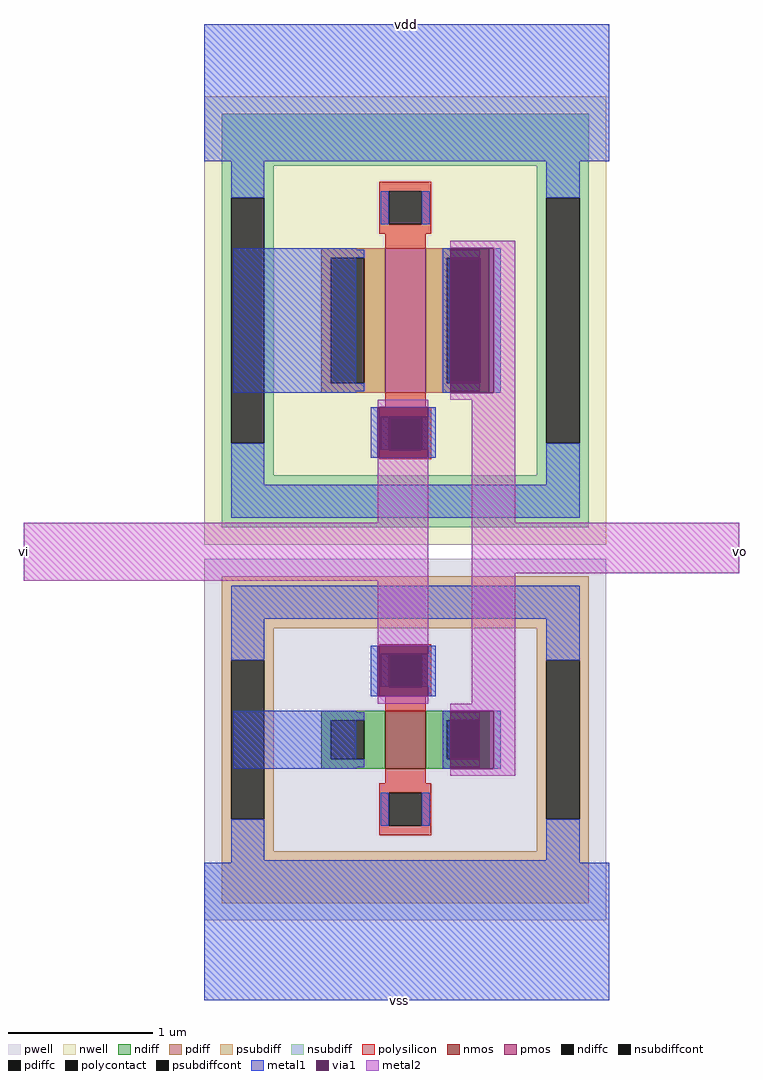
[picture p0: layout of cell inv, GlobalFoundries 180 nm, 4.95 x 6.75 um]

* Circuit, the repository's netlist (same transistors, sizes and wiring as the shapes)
** sch_path: /foss/designs/comparator/inv.sch
**.subckt inv vdd vi vo vss
*.iopin vdd
*.iopin vss
*.ipin vi
*.opin vo
XM1 vo vi vss vss nfet_03v3 L=0.28u W=0.4u nf=1 ad='int((nf+1)/2) * W/nf * 0.18u' as='int((nf+2)/2) * W/nf * 0.18u' pd='2*int((nf+1)/2) * (W/nf + 0.18u)'
+ ps='2*int((nf+2)/2) * (W/nf + 0.18u)' nrd='0.18u / W' nrs='0.18u / W' sa=0 sb=0 sd=0 m=1
XM2 vo vi vdd vdd pfet_03v3 L=0.28u W=1u nf=1 ad='int((nf+1)/2) * W/nf * 0.18u' as='int((nf+2)/2) * W/nf * 0.18u' pd='2*int((nf+1)/2) * (W/nf + 0.18u)'
+ ps='2*int((nf+2)/2) * (W/nf + 0.18u)' nrd='0.18u / W' nrs='0.18u / W' sa=0 sb=0 sd=0 m=1
**.ends
.end

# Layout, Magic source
magic
tech gf180mcuD
magscale 1 10
<< metal1 >>
rect -60 990 500 1180
rect -20 670 150 870
rect 270 670 280 870
rect 340 670 350 870
rect 170 580 180 650
rect 250 580 260 650
rect 170 250 180 320
rect 250 250 260 320
rect -20 150 150 230
rect 270 150 280 230
rect 340 150 350 230
rect -60 -170 500 20
<< via1 >>
rect 280 670 340 870
rect 180 580 250 650
rect 180 250 250 320
rect 280 150 340 230
<< metal2 >>
rect 280 870 370 880
rect 340 670 370 870
rect 280 660 370 670
rect 180 650 250 660
rect 180 490 250 580
rect -310 410 250 490
rect 180 320 250 410
rect 180 240 250 250
rect 310 490 370 660
rect 310 420 680 490
rect 310 240 370 420
rect 280 230 370 240
rect 340 150 370 230
rect 280 140 370 150
use nfet_03v3_Z8672T  XM1
transform 1 0 218 0 1 190
box -278 -250 278 250
use pfet_03v3_VJF862  XM2
transform 1 0 218 0 1 770
box -278 -310 278 310
<< labels >>
rlabel metal1 220 1180 220 1180 5 vdd
port 0 s
rlabel metal1 210 -170 210 -170 5 vss
port 1 s
rlabel metal2 -310 450 -310 450 7 vi
port 2 w
rlabel metal2 680 450 680 450 3 vo
port 3 e
<< end >>

# cell nfet_03v3_Z8672T: kit device nfet_03v3, w 0.4 l 0.28 m 1 nf 1 diffcov 100 polycov 100 guard 1 glc 1 grc 1 gtc 0 gbc 0 tbcov 100 rlcov 100 topc 1 botc 1 poverlap 0 doverlap 1 lmin 0.28 wmin 0.22 class mosfet full_metal 1 compatible {nfet_03v3 nfet_06v0 nfet_06v0_nvt} ad {int((nf+1)/2) * W/nf * 0.18u} as {int((nf+2)/2) * W/nf * 0.18u} pd {2*int((nf+1)/2) * (W/nf + 0.18u)} ps {2*int((nf+2)/2) * (W/nf + 0.18u)} nrd {0.18u / W} nrs {0.18u / W} sa 0 sb 0 sd 0

# cell pfet_03v3_VJF862: kit device pfet_03v3, w 1.0 l 0.28 m 1 nf 1 diffcov 100 polycov 100 guard 1 glc 1 grc 1 gtc 0 gbc 0 tbcov 100 rlcov 100 topc 1 botc 1 poverlap 0 doverlap 1 lmin 0.28 wmin 0.22 class mosfet full_metal 1 compatible {pfet_03v3 pfet_06v0} ad {int((nf+1)/2) * W/nf * 0.18u} as {int((nf+2)/2) * W/nf * 0.18u} pd {2*int((nf+1)/2) * (W/nf + 0.18u)} ps {2*int((nf+2)/2) * (W/nf + 0.18u)} nrd {0.18u / W} nrs {0.18u / W} sa 0 sb 0 sd 0
